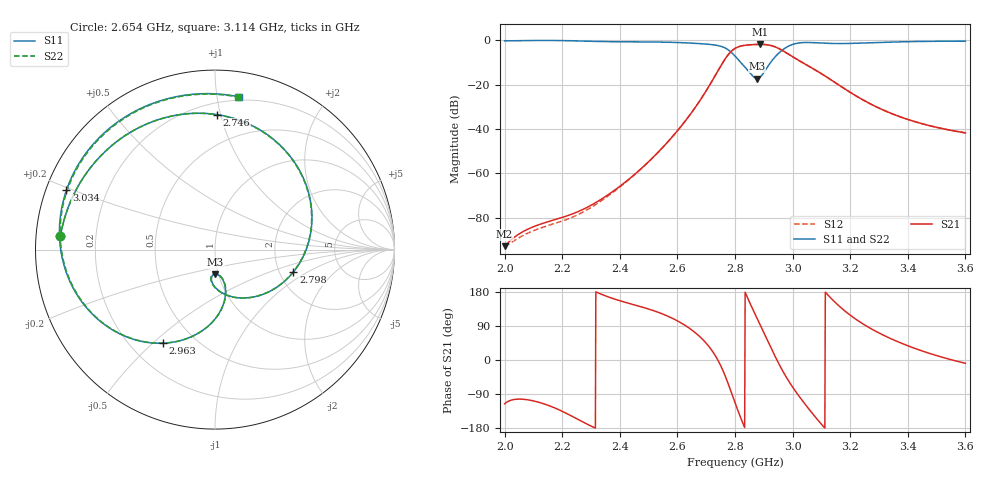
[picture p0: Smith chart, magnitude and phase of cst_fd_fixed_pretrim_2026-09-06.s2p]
! TOUCHSTONE file generated by CST MICROWAVE STUDIO
! Date and time: Sun Sep  6 20:48:55 2026
! Project name: test.cst
! Parameters = {L_cav1=34.239; L_cav2=35.503; L_cav3=34.239; L_feed=15.4623; L_taper=15.738; Lsub=166.382; W_ms=1.6636; Wsub=45.79; a_siw=39.79; eps_r=3.66; h_air=4.56; h_sub=0.76; p_via=3; rvia=0.75; t_cu=0.0175; tan_d=0.0037; w_ext=13.96; w_iris12=14.416; w_iris23=14.416}
! Header version: 2018
! Port assignment regex: !\s*Touchstone port\s*([0-9]+)\s*=\s*(CST MWS port|CST DS port)\s*([0-9]+|Zmin|Zmax)\s*\(\"(.*)\"\)(\s*mode\s*([0-9]+))?.*
! Touchstone port assignment:
! Touchstone port 1 = CST MWS port 1 ("")
! Touchstone port 2 = CST MWS port 2 ("")
# GHz S MA R 50
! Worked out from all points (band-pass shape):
!   1001 points, 2 GHz to 3.6 GHz, reference 50 ohm
!   highest |S21| = -1.80 dB at 2.888 GHz (marker M1); lowest = -92.9 dB at 2 GHz (marker M2)
!   |S21| within 3 dB of the highest: 2.788 GHz to 2.968 GHz (179.6 MHz wide, 6.24 % of centre)
!   lowest |S11| = -17.3 dB at 2.877 GHz (marker M3), VSWR 1.32, Z = 48.3 - j13.4 ohm
!   |S11| at or under -10 dB: 2.82 GHz to 2.923 GHz (103 MHz wide, 3.58 % of centre)
!   |S22| runs from -17.5 to 0.0 dB; largest |S21 - S12| = 0.00043
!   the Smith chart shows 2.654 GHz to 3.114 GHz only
!   S11 on the Smith chart (normalised r, x): 2.654 GHz: 0.07, +0.04; 2.746 GHz: 0.28, +0.97; 2.798 GHz: 2.38, -0.75; 2.963 GHz: 0.33, -0.54; 3.034 GHz: 0.06, +0.19; 3.114 GHz: 0.18, +1.16
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2  0.9761 -37.3  2.258e-05 -115.6  2.266e-05 -137.0  0.9761 -37.3
2.2672  0.968 -77.3  0.0001475 -161.7  0.0001277 -162.3  0.968 -77.3
2.5344  0.9178 -134.5  0.003043 125.6  0.003038 125.7  0.9189 -134.5
2.6544  0.8644 174.9  0.02611 76.6  0.02611 76.6  0.8648 175.1
2.704  0.8214 138.9  0.08034 40.7  0.08034 40.7  0.8219 139.2
2.7456  0.7524 89.2  0.233 -7.6  0.233 -7.6  0.7524 89.6
2.7744  0.6246 36.0  0.4581 -58.6  0.4581 -58.6  0.6241 36.4
2.7984  0.4545 -16.0  0.649 -109.3  0.649 -109.3  0.4537 -15.8
2.8  0.4431 -19.4  0.6587 -112.7  0.6587 -112.7  0.4423 -19.2
2.8368  0.2398 -82.0  0.7786 175.9  0.7786 175.9  0.239 -82.7
2.8768  0.1366 -89.4  0.8108 109.6  0.8107 109.6  0.1332 -90.2
2.888  0.1488 -79.9  0.8131 91.7  0.813 91.8  0.1451 -79.9
2.9264  0.3359 -84.2  0.7624 30.0  0.7623 30.0  0.3351 -83.9
2.9632  0.5964 -119.0  0.5986 -25.6  0.5986 -25.6  0.5969 -119.2
3.0032  0.823 -166.1  0.4153 -75.0  0.4152 -75.1  0.8205 -166.2
3.0336  0.8914 158.2  0.317 -107.0  0.3167 -107.0  0.8874 158.3
3.0672  0.8917 122.6  0.2376 -139.6  0.2372 -139.6  0.8884 123.0
3.1136  0.8616 81.0  0.1558 179.0  0.1556 179.0  0.8601 81.6
3.2096  0.8579 16.9  0.06145 112.9  0.06146 112.9  0.8577 17.6
3.3344  0.9124 -37.1  0.02357 58.6  0.02359 58.6  0.912 -36.6
3.4528  0.9482 -71.4  0.01297 23.1  0.01297 23.1  0.9478 -71.0
3.6  0.961 -101.6  0.008168 -8.7  0.008153 -8.5  0.9608 -101.4
